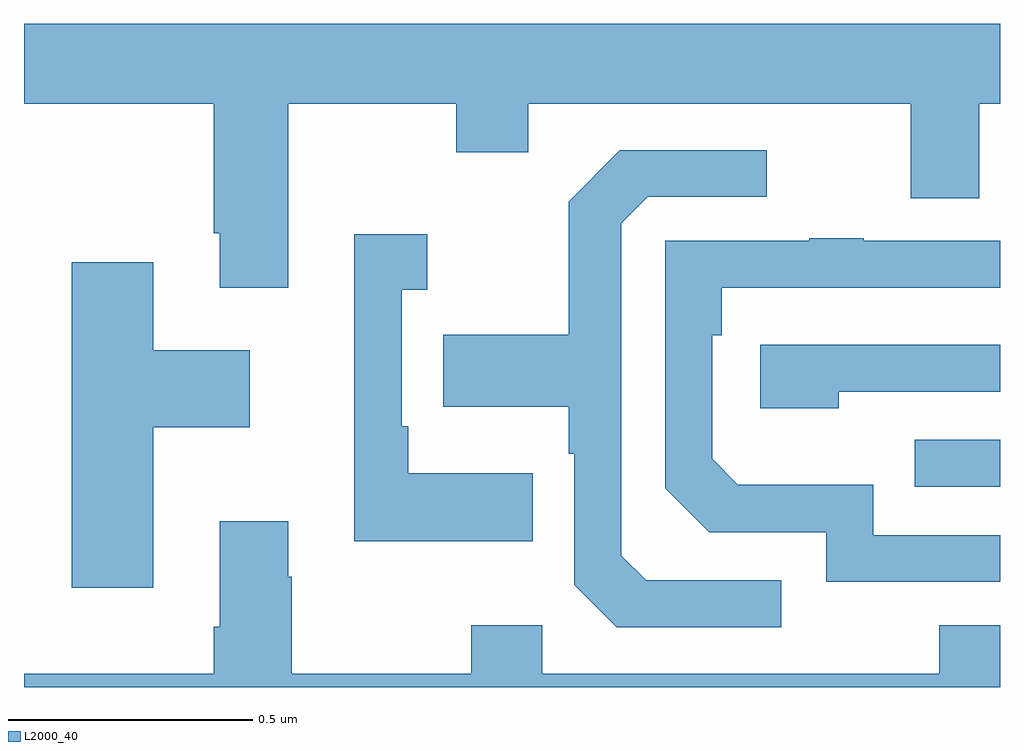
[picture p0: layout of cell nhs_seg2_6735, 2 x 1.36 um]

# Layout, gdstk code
import gdstk
lib = gdstk.Library(unit=1e-6, precision=1e-09)
def R(c, l, rs):  # rectangles x0, y0, x1, y1
    for r in rs: c.add(gdstk.rectangle(r[:2], r[2:], *l))
def P(c, l, *ps):  # polygons
    for p in ps: c.add(gdstk.Polygon(p, *l))
L2000_40 = (2000, 40)

nhs_seg2_6735 = lib.new_cell('nhs_seg2_6735')
R(nhs_seg2_6735, L2000_40, [(196.825,620.211,197,620.307)])
P(nhs_seg2_6735, L2000_40, [(195.541,620.996),(195.886,620.996),(195.886,620.897),(196.033,620.897),(196.033,620.996),(196.817,620.996),(196.817,620.802),(196.957,620.802),(196.957,620.996),(197,620.996),(197,621.16),(195,621.16),(195,620.996),(195.389,620.996),(195.389,620.731),(195.401,620.731),(195.401,620.619),(195.541,620.619)],
  [(196.552,620.019),(196.275,620.019),(196.224,620.07),(196.224,620.751),(196.278,620.805),(196.522,620.805),(196.522,620.901),(196.221,620.901),(196.116,620.795),(196.116,620.523),(195.859,620.523),(195.859,620.375),(196.116,620.375),(196.116,620.279),(196.128,620.279),(196.128,620.01),(196.215,619.923),(196.552,619.923)],
  [(196.043,620.239),(195.787,620.239),(195.787,620.335),(195.774,620.335),(195.774,620.615),(195.826,620.615),(195.826,620.728),(195.677,620.728),(195.677,620.099),(196.043,620.099)],
  [(197,620.112),(196.74,620.112),(196.74,620.215),(196.463,620.215),(196.41,620.268),(196.41,620.522),(196.43,620.522),(196.43,620.619),(197,620.619),(197,620.715),(196.721,620.715),(196.721,620.72),(196.609,620.72),(196.609,620.715),(196.314,620.715),(196.314,620.208),(196.404,620.118),(196.644,620.118),(196.644,620.016),(197,620.016)],
  [(195.265,620.333),(195.463,620.333),(195.463,620.491),(195.265,620.491),(195.265,620.671),(195.098,620.671),(195.098,620.004),(195.265,620.004)],
  [(196.67,620.406),(197,620.406),(197,620.502),(196.509,620.502),(196.509,620.372),(196.67,620.372)],
  [(197,619.927),(196.876,619.927),(196.876,619.828),(196.062,619.828),(196.062,619.927),(195.916,619.927),(195.916,619.828),(195.549,619.828),(195.549,620.027),(195.541,620.027),(195.541,620.14),(195.401,620.14),(195.401,619.924),(195.389,619.924),(195.389,619.828),(195,619.828),(195,619.8),(197,619.8)])

lib.write_gds('nhs_seg2_6735.gds')
